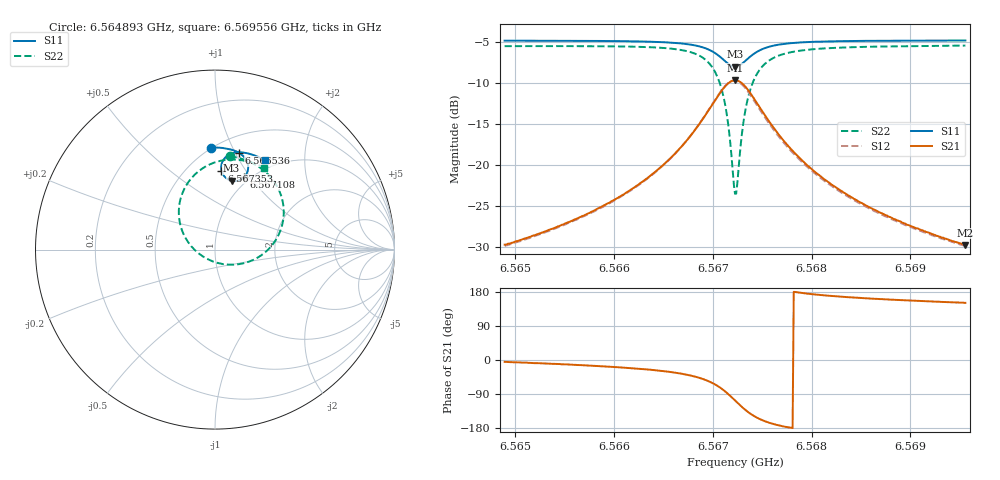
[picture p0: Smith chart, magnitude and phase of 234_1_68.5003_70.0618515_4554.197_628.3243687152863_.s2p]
#  HZ  S  RI  R  50.00
! Rohde & Schwarz Vector Network Analyzer
! Rohde-Schwarz,ZNB20-2Port,1311601062101988,3.16
! Created: UTC 3/20/2024, 5:14:10 PM
! freq[Hz]  re:S11  im:S11  re:S21  im:S21  re:S12  im:S12  re:S22  im:S22
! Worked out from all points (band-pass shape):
!   401 points, 6.564893 GHz to 6.569556 GHz, reference 50 ohm
!   highest |S21| = -9.71 dB at 6.567224 GHz (marker M1); lowest = -29.7 dB at 6.569556 GHz (marker M2)
!   |S21| within 3 dB of the highest: 6.566993 GHz to 6.567458 GHz (465.7 kHz wide, 0.00709 % of centre)
!   lowest |S11| = -8.1 dB at 6.567224 GHz (marker M3), VSWR 2.30, Z = 43.5 + j39.5 ohm
!   |S11| at or under -10 dB: nowhere
!   |S22| runs from -23.5 to -5.5 dB; largest |S21 - S12| = 0.017
!   S11 on the Smith chart (normalised r, x): 6.564893 GHz: 0.50, +0.83; 6.566536 GHz: 0.66, +1.04; 6.567108 GHz: 0.94, +0.94; 6.567353 GHz: 0.72, +0.78; 6.569556 GHz: 0.87, +1.29
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6.5648925e9  -0.021 0.5687  0.0327 -0.00278  0.0319 -0.00327  0.082 0.5206
6.5656737e9  0.0452 0.5659  0.0474 -0.0115  0.0466 -0.0122  0.1627 0.5012
6.5661167e9  0.0869 0.558  0.0632 -0.0236  0.0623 -0.0243  0.2218 0.4748
6.5664548e9  0.1236 0.5446  0.0838 -0.0446  0.0825 -0.0455  0.2825 0.4317
6.5665364e9  0.1336 0.5391  0.0905 -0.0532  0.0893 -0.0545  0.3006 0.4143
6.5667696e9  0.1642 0.5136  0.1131 -0.0972  0.1114 -0.0992  0.3579 0.3285
6.5669328e9  0.1829 0.4757  0.1216 -0.1638  0.1183 -0.1675  0.3831 0.2001
6.5670378e9  0.1813 0.4353  0.1004 -0.2343  0.0936 -0.2392  0.3458 0.0657
6.5671077e9  0.1628 0.4045  0.0538 -0.2872  0.0426 -0.2906  0.2581 -0.0315
6.5671544e9  0.1393 0.388  0.00242 -0.3129  -0.0116 -0.3137  0.1616 -0.0754
6.567201e9  0.1085 0.3818  -0.0613 -0.3195  -0.0766 -0.3151  0.0451 -0.0808
6.5672243e9  0.0921 0.3837  -0.0943 -0.3132  -0.1092 -0.3059  -0.0131 -0.0655
6.5672476e9  0.0768 0.3892  -0.1253 -0.3006  -0.1389 -0.2908  -0.0668 -0.0384
6.5673059e9  0.0473 0.4146  -0.1847 -0.2481  -0.1929 -0.2342  -0.1632 0.0631
6.5673526e9  0.0361 0.4403  -0.2087 -0.1975  -0.2123 -0.1834  -0.1969 0.1552
6.5674458e9  0.0393 0.4849  -0.2102 -0.1115  -0.2081 -0.1006  -0.1849 0.3053
6.5675857e9  0.067 0.5216  -0.1732 -0.0405  -0.1694 -0.0345  -0.1058 0.4242
6.567749e9  0.0992 0.5375  -0.133 -0.007  -0.1297 -0.00388  -0.0231 0.4774
6.5680055e9  0.1383 0.5422  -0.0931 0.0103  -0.0908 0.0118  0.0644 0.5002
6.5683436e9  0.177 0.5374  -0.065 0.0159  -0.0633 0.0167  0.1361 0.4993
6.5687866e9  0.2177 0.5255  -0.0453 0.017  -0.0443 0.0172  0.1983 0.4863
6.5695561e9  0.2774 0.4987  -0.0284 0.0159  -0.0279 0.016  0.2739 0.4552
